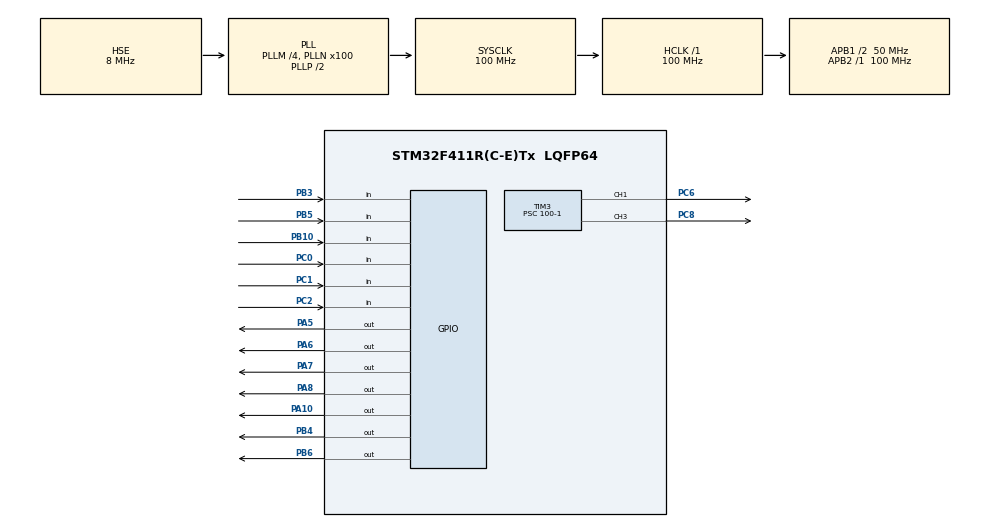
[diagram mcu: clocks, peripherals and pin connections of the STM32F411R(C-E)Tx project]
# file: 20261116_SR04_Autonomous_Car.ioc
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Mcu.Family=STM32F4
Mcu.Name=STM32F411R(C-E)Tx
Mcu.Package=LQFP64
NVIC.PriorityGroup=NVIC_PRIORITYGROUP_4
NVIC.TIM1_UP_TIM10_IRQn=true\:15\:0\:false\:false\:true\:false\:true\:true
NVIC.TimeBase=TIM1_UP_TIM10_IRQn
NVIC.TimeBaseIP=TIM10
PA13.Mode=Serial_Wire
PA13.Signal=SYS_JTMS-SWDIO
PA14.Mode=Serial_Wire
PA14.Signal=SYS_JTCK-SWCLK
PA5.Signal=GPIO_Output
PA6.Signal=GPIO_Output
PA7.Signal=GPIO_Output
PB6.Signal=GPIO_Output
PC0.Signal=GPIO_Input
PC1.Signal=GPIO_Input
PC2.Signal=GPIO_Input
PC6.Signal=S_TIM3_CH1
PC8.Signal=S_TIM3_CH3
PH0\ -\ OSC_IN.Mode=HSE-External-Oscillator
PH0\ -\ OSC_IN.Signal=RCC_OSC_IN
PH1\ -\ OSC_OUT.Mode=HSE-External-Oscillator
PH1\ -\ OSC_OUT.Signal=RCC_OSC_OUT
ProjectManager.HeapSize=0x200
ProjectManager.StackSize=0x400
ProjectManager.TargetToolchain=STM32CubeIDE
RCC.48MHZClocksFreq_Value=50000000
RCC.AHBFreq_Value=100000000
RCC.APB1CLKDivider=RCC_HCLK_DIV2
RCC.APB1Freq_Value=50000000
RCC.APB1TimFreq_Value=100000000
RCC.APB2Freq_Value=100000000
RCC.APB2TimFreq_Value=100000000
RCC.CortexFreq_Value=100000000
RCC.HCLKFreq_Value=100000000
RCC.HSE_VALUE=8000000
RCC.HSI_VALUE=16000000
RCC.LSE_VALUE=32768
RCC.PLLM=4
RCC.PLLN=100
RCC.PLLSourceVirtual=RCC_PLLSOURCE_HSE
RCC.SYSCLKFreq_VALUE=100000000
RCC.SYSCLKSource=RCC_SYSCLKSOURCE_PLLCLK
RCC.VCOOutputFreq_Value=200000000
SH.S_TIM3_CH1.0=TIM3_CH1,PWM Generation1 CH1
SH.S_TIM3_CH3.0=TIM3_CH3,PWM Generation3 CH3
TIM3.AutoReloadPreload=TIM_AUTORELOAD_PRELOAD_ENABLE
TIM3.Channel-PWM\ Generation1\ CH1=TIM_CHANNEL_1
TIM3.Channel-PWM\ Generation3\ CH3=TIM_CHANNEL_3
TIM3.Period=1000-1
TIM3.Prescaler=100-1
VP_SYS_VS_tim10.Mode=TIM10
VP_TIM3_VS_ClockSourceINT.Mode=Internal
board=custom
PA8.Signal=GPIO_Output
PB10.Signal=GPIO_Input
PB10.GPIO_PuPd=GPIO_PULLDOWN
PB4.Signal=GPIO_Output
PB5.Signal=GPIO_Input
PB5.GPIO_PuPd=GPIO_PULLDOWN
PA10.Signal=GPIO_Output
PB3.Signal=GPIO_Input
PB3.GPIO_PuPd=GPIO_PULLDOWN
PC0.GPIO_PuPd=GPIO_PULLUP

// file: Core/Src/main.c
/* USER CODE BEGIN Header */
/**
 ******************************************************************************
 * @file           : main.c
 * @brief          : Main program body
 ******************************************************************************
 * @attention
 *
 * Copyright (c) 2026 STMicroelectronics.
 * All rights reserved.
 *
 * This software is licensed under terms that can be found in the LICENSE file
 * in the root directory of this software component.
 * If no LICENSE file comes with this software, it is provided AS-IS.
 *
 ******************************************************************************
 */
/* USER CODE END Header */
#include "main.h"

TIM_HandleTypeDef htim3;

void SystemClock_Config(void);
static void MX_GPIO_Init(void);
static void MX_TIM3_Init(void);

/* USER CODE BEGIN 0 */

/* Tunable distances, in cm. Side sensors point diagonally outward. */
#define FRONT_BLOCK_CM 60U
#define FRONT_CLEAR_CM 85U
#define SIDE_BLOCK_CM 30U
#define SIDE_CLEAR_CM 40U
#define DIRECTION_MARGIN_CM 10U
#define SENSOR_SLOT_MS 60U
#define SENSOR_STALE_MS 300U
#define ECHO_TIMEOUT_US 25000U
#define BUTTON_DEBOUNCE_MS 30U

typedef struct {
    GPIO_TypeDef *trig_port;
    uint16_t trig_pin, echo_pin;
    uint16_t cm;
    uint8_t valid;
    uint32_t measured_ms;
} sensor_t;
static sensor_t sensors[3] = {
    {GPIOA, GPIO_PIN_8, GPIO_PIN_10, 0, 0, 0},
    {GPIOB, GPIO_PIN_4, GPIO_PIN_5, 0, 0, 0},
    {GPIOA, GPIO_PIN_10, GPIO_PIN_3, 0, 0, 0}
};
/* All ECHO pins belong to GPIOB. Inspect these in Live Expressions. */
static volatile uint8_t running;
static volatile int8_t motion; /* 0 stop, 1 forward, -1 left, 2 right */
static uint8_t sensor_index, phase;
static uint32_t phase_cycles, slot_ms;
static uint8_t button_raw = 1, button_stable = 1;
static uint32_t button_changed_ms;
static int8_t preferred_turn = -1;

static uint32_t elapsed_us(uint32_t start)
{
    return (uint32_t)(DWT->CYCCNT - start) / (SystemCoreClock / 1000000U);
}

static void drive(int8_t next)
{
    if (motion == next) return;
    /* Remove enable before changing bridge direction. */
    __HAL_TIM_SET_COMPARE(&htim3, TIM_CHANNEL_1, 0);
    __HAL_TIM_SET_COMPARE(&htim3, TIM_CHANNEL_3, 0);
    HAL_GPIO_WritePin(GPIOB, GPIO_PIN_6, GPIO_PIN_RESET);
    HAL_GPIO_WritePin(GPIOA, GPIO_PIN_5|GPIO_PIN_6|GPIO_PIN_7, GPIO_PIN_RESET);
    if (next) {
        uint8_t left_forward = next != -1;
        uint8_t right_forward = next != 2;
        HAL_GPIO_WritePin(GPIOB, GPIO_PIN_6, left_forward ? GPIO_PIN_SET : GPIO_PIN_RESET);
        HAL_GPIO_WritePin(GPIOA, GPIO_PIN_7, left_forward ? GPIO_PIN_RESET : GPIO_PIN_SET);
        HAL_GPIO_WritePin(GPIOA, GPIO_PIN_6, right_forward ? GPIO_PIN_SET : GPIO_PIN_RESET);
        HAL_GPIO_WritePin(GPIOA, GPIO_PIN_5, right_forward ? GPIO_PIN_RESET : GPIO_PIN_SET);
        /* ARR=999: CCR=1000 gives true 100 percent duty. */
        __HAL_TIM_SET_COMPARE(&htim3, TIM_CHANNEL_1, 1000);
        __HAL_TIM_SET_COMPARE(&htim3, TIM_CHANNEL_3, 1000);
    }
    motion = next;
}

static void navigate(uint32_t now)
{
    if (!running) { drive(0); return; }
    for (unsigned i=0; i<3; ++i) {
        if (!sensors[i].valid || (uint32_t)(now-sensors[i].measured_ms)>SENSOR_STALE_MS) {
            drive(0); return;
        }
    }
    uint16_t left=sensors[0].cm, front=sensors[1].cm, right=sensors[2].cm;
    uint8_t turning = motion == -1 || motion == 2;
    if (front >= (turning ? FRONT_CLEAR_CM : FRONT_BLOCK_CM) &&
        left >= (turning ? SIDE_CLEAR_CM : SIDE_BLOCK_CM) &&
        right >= (turning ? SIDE_CLEAR_CM : SIDE_BLOCK_CM)) {
        drive(1); return;
    }
    /* Keep the previous direction on a near tie to avoid oscillation. */
    if (left > right + DIRECTION_MARGIN_CM) preferred_turn=-1;
    else if (right > left + DIRECTION_MARGIN_CM) preferred_turn=2;
    drive(preferred_turn);
}

static void button_update(uint32_t now)
{
    uint8_t raw = HAL_GPIO_ReadPin(GPIOC, GPIO_PIN_0) == GPIO_PIN_SET;
    if (raw != button_raw) { button_raw=raw; button_changed_ms=now; }
    if (raw != button_stable && (uint32_t)(now-button_changed_ms)>=BUTTON_DEBOUNCE_MS) {
        button_stable=raw;
        if (!raw) {
            running=!running;
            drive(0);
            /* Require a fresh complete scan before starting. */
            for (unsigned i=0; i<3; ++i) sensors[i].valid=0;
        }
    }
}

static void finish_measurement(uint8_t valid, uint32_t width_us, uint32_t now)
{
    sensor_t *s=&sensors[sensor_index];
    s->cm=(uint16_t)((width_us+29U)/58U);
    s->valid=valid && width_us>=116U && width_us<=23200U;
    s->measured_ms=now;
    sensor_index=(sensor_index+1U)%3U;
    phase=0;
    navigate(now);
}

static void sensors_update(uint32_t now)
{
    sensor_t *s=&sensors[sensor_index];
    switch (phase) {
    case 0:
        if ((uint32_t)(now-slot_ms)<SENSOR_SLOT_MS) return;
        slot_ms=now;
        if (HAL_GPIO_ReadPin(GPIOB,s->echo_pin)==GPIO_PIN_SET) {
            finish_measurement(0,0,now); return;
        }
        HAL_GPIO_WritePin(s->trig_port,s->trig_pin,GPIO_PIN_SET);
        phase_cycles=DWT->CYCCNT; phase=1;
        break;
    case 1:
        if (elapsed_us(phase_cycles)>=12U) {
            HAL_GPIO_WritePin(s->trig_port,s->trig_pin,GPIO_PIN_RESET);
            phase_cycles=DWT->CYCCNT; phase=2;
        }
        break;
    case 2:
        if (elapsed_us(phase_cycles)>=ECHO_TIMEOUT_US) finish_measurement(0,0,now);
        else if (HAL_GPIO_ReadPin(GPIOB,s->echo_pin)==GPIO_PIN_SET) {
            phase_cycles=DWT->CYCCNT; phase=3;
        }
        break;
    case 3:
        if (elapsed_us(phase_cycles)>=ECHO_TIMEOUT_US) finish_measurement(0,0,now);
        else if (HAL_GPIO_ReadPin(GPIOB,s->echo_pin)==GPIO_PIN_RESET)
            finish_measurement(1,elapsed_us(phase_cycles),now);
        break;
    default: phase=0; break;
    }
}

/* USER CODE END 0 */

int main(void)
{

	/* MCU Configuration--------------------------------------------------------*/

	/* Reset of all peripherals, Initializes the Flash interface and the Systick. */
	HAL_Init();

	/* Configure the system clock */
	SystemClock_Config();

	/* Initialize all configured peripherals */
	MX_GPIO_Init();
	MX_TIM3_Init();
	/* USER CODE BEGIN 2 */

    CoreDebug->DEMCR |= CoreDebug_DEMCR_TRCENA_Msk;
    DWT->CYCCNT=0;
    DWT->CTRL |= DWT_CTRL_CYCCNTENA_Msk;
    if (HAL_TIM_PWM_Start(&htim3,TIM_CHANNEL_1)!=HAL_OK ||
        HAL_TIM_PWM_Start(&htim3,TIM_CHANNEL_3)!=HAL_OK) Error_Handler();
    motion=99;
    drive(0);
    slot_ms=HAL_GetTick()-SENSOR_SLOT_MS;

/* USER CODE END 2 */

	/* Infinite loop */
	/* USER CODE BEGIN WHILE */
    while (1) {
        uint32_t now=HAL_GetTick();
        button_update(now);
        sensors_update(now);
        navigate(now);
        /* USER CODE END WHILE */
    }
}

void SystemClock_Config(void)
{
	RCC_OscInitTypeDef RCC_OscInitStruct = {0};
	RCC_ClkInitTypeDef RCC_ClkInitStruct = {0};

	/** Configure the main internal regulator output voltage
	 */
	__HAL_RCC_PWR_CLK_ENABLE();
	__HAL_PWR_VOLTAGESCALING_CONFIG(PWR_REGULATOR_VOLTAGE_SCALE1);

	/** Initializes the RCC Oscillators according to the specified parameters
	 * in the RCC_OscInitTypeDef structure.
	 */
	RCC_OscInitStruct.OscillatorType = RCC_OSCILLATORTYPE_HSE;
	RCC_OscInitStruct.HSEState = RCC_HSE_ON;
	RCC_OscInitStruct.PLL.PLLState = RCC_PLL_ON;
	RCC_OscInitStruct.PLL.PLLSource = RCC_PLLSOURCE_HSE;
	RCC_OscInitStruct.PLL.PLLM = 4;
	RCC_OscInitStruct.PLL.PLLN = 100;
	RCC_OscInitStruct.PLL.PLLP = RCC_PLLP_DIV2;
	RCC_OscInitStruct.PLL.PLLQ = 4;
	if (HAL_RCC_OscConfig(&RCC_OscInitStruct) != HAL_OK)
	{
		Error_Handler();
	}

	/** Initializes the CPU, AHB and APB buses clocks
	 */
	RCC_ClkInitStruct.ClockType = RCC_CLOCKTYPE_HCLK|RCC_CLOCKTYPE_SYSCLK
			|RCC_CLOCKTYPE_PCLK1|RCC_CLOCKTYPE_PCLK2;
	RCC_ClkInitStruct.SYSCLKSource = RCC_SYSCLKSOURCE_PLLCLK;
	RCC_ClkInitStruct.AHBCLKDivider = RCC_SYSCLK_DIV1;
	RCC_ClkInitStruct.APB1CLKDivider = RCC_HCLK_DIV2;
	RCC_ClkInitStruct.APB2CLKDivider = RCC_HCLK_DIV1;

	if (HAL_RCC_ClockConfig(&RCC_ClkInitStruct, FLASH_LATENCY_3) != HAL_OK)
	{
		Error_Handler();
	}
}

static void MX_TIM3_Init(void)
{

	TIM_ClockConfigTypeDef sClockSourceConfig = {0};
	TIM_MasterConfigTypeDef sMasterConfig = {0};
	TIM_OC_InitTypeDef sConfigOC = {0};

	htim3.Instance = TIM3;
	htim3.Init.Prescaler = 100-1;
	htim3.Init.CounterMode = TIM_COUNTERMODE_UP;
	htim3.Init.Period = 1000-1;
	htim3.Init.ClockDivision = TIM_CLOCKDIVISION_DIV1;
	htim3.Init.AutoReloadPreload = TIM_AUTORELOAD_PRELOAD_ENABLE;
	if (HAL_TIM_Base_Init(&htim3) != HAL_OK)
	{
		Error_Handler();
	}
	sClockSourceConfig.ClockSource = TIM_CLOCKSOURCE_INTERNAL;
	if (HAL_TIM_ConfigClockSource(&htim3, &sClockSourceConfig) != HAL_OK)
	{
		Error_Handler();
	}
	if (HAL_TIM_PWM_Init(&htim3) != HAL_OK)
	{
		Error_Handler();
	}
	sMasterConfig.MasterOutputTrigger = TIM_TRGO_RESET;
	sMasterConfig.MasterSlaveMode = TIM_MASTERSLAVEMODE_DISABLE;
	if (HAL_TIMEx_MasterConfigSynchronization(&htim3, &sMasterConfig) != HAL_OK)
	{
		Error_Handler();
	}
	sConfigOC.OCMode = TIM_OCMODE_PWM1;
	sConfigOC.Pulse = 0;
	sConfigOC.OCPolarity = TIM_OCPOLARITY_HIGH;
	sConfigOC.OCFastMode = TIM_OCFAST_DISABLE;
	if (HAL_TIM_PWM_ConfigChannel(&htim3, &sConfigOC, TIM_CHANNEL_1) != HAL_OK)
	{
		Error_Handler();
	}
	if (HAL_TIM_PWM_ConfigChannel(&htim3, &sConfigOC, TIM_CHANNEL_3) != HAL_OK)
	{
		Error_Handler();
	}
	HAL_TIM_MspPostInit(&htim3);

}

static void MX_GPIO_Init(void)
{
	GPIO_InitTypeDef GPIO_InitStruct = {0};

	/* GPIO Ports Clock Enable */
	__HAL_RCC_GPIOH_CLK_ENABLE();
	__HAL_RCC_GPIOC_CLK_ENABLE();
	__HAL_RCC_GPIOA_CLK_ENABLE();
	__HAL_RCC_GPIOB_CLK_ENABLE();

	/*Configure GPIO pin Output Level */
	HAL_GPIO_WritePin(GPIOA, GPIO_PIN_5|GPIO_PIN_6|GPIO_PIN_7, GPIO_PIN_RESET);

	/*Configure GPIO pin Output Level */
	HAL_GPIO_WritePin(GPIOB, GPIO_PIN_6, GPIO_PIN_RESET);

	/*Configure GPIO pins : PC0 PC1 PC2 */
	GPIO_InitStruct.Pin = GPIO_PIN_0|GPIO_PIN_1|GPIO_PIN_2;
	GPIO_InitStruct.Mode = GPIO_MODE_INPUT;
	GPIO_InitStruct.Pull = GPIO_NOPULL;
	HAL_GPIO_Init(GPIOC, &GPIO_InitStruct);

	/*Configure GPIO pins : PA5 PA6 PA7 */
	GPIO_InitStruct.Pin = GPIO_PIN_5|GPIO_PIN_6|GPIO_PIN_7;
	GPIO_InitStruct.Mode = GPIO_MODE_OUTPUT_PP;
	GPIO_InitStruct.Pull = GPIO_NOPULL;
	GPIO_InitStruct.Speed = GPIO_SPEED_FREQ_LOW;
	HAL_GPIO_Init(GPIOA, &GPIO_InitStruct);

	/*Configure GPIO pin : PB6 */
	GPIO_InitStruct.Pin = GPIO_PIN_6;
	GPIO_InitStruct.Mode = GPIO_MODE_OUTPUT_PP;
	GPIO_InitStruct.Pull = GPIO_NOPULL;
	GPIO_InitStruct.Speed = GPIO_SPEED_FREQ_LOW;
	HAL_GPIO_Init(GPIOB, &GPIO_InitStruct);

	/* USER CODE BEGIN MX_GPIO_Init_2 */

    HAL_GPIO_WritePin(GPIOA,GPIO_PIN_8|GPIO_PIN_10,GPIO_PIN_RESET);
    HAL_GPIO_WritePin(GPIOB,GPIO_PIN_4,GPIO_PIN_RESET);
    GPIO_InitStruct.Pin=GPIO_PIN_8|GPIO_PIN_10;
    GPIO_InitStruct.Mode=GPIO_MODE_OUTPUT_PP;
    GPIO_InitStruct.Pull=GPIO_NOPULL;
    GPIO_InitStruct.Speed=GPIO_SPEED_FREQ_LOW;
    HAL_GPIO_Init(GPIOA,&GPIO_InitStruct);
    GPIO_InitStruct.Pin=GPIO_PIN_4;
    HAL_GPIO_Init(GPIOB,&GPIO_InitStruct);
    GPIO_InitStruct.Pin=GPIO_PIN_10|GPIO_PIN_5|GPIO_PIN_3;
    GPIO_InitStruct.Mode=GPIO_MODE_INPUT;
    GPIO_InitStruct.Pull=GPIO_PULLDOWN;
    HAL_GPIO_Init(GPIOB,&GPIO_InitStruct);
    GPIO_InitStruct.Pin=GPIO_PIN_0;
    GPIO_InitStruct.Pull=GPIO_PULLUP;
    HAL_GPIO_Init(GPIOC,&GPIO_InitStruct);

/* USER CODE END MX_GPIO_Init_2 */
}

void HAL_TIM_PeriodElapsedCallback(TIM_HandleTypeDef *htim)
{
	if (htim->Instance == TIM10)
	{
		HAL_IncTick();
	}
}

void Error_Handler(void)
{
	__disable_irq();
	while (1)
	{
	}
}
